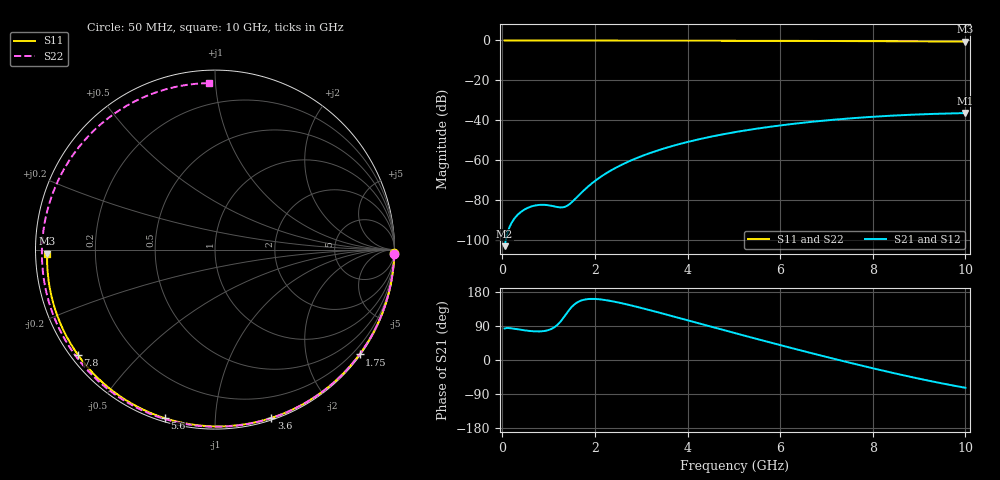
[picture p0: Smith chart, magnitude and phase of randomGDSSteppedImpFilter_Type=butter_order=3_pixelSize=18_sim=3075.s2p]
! freq	dB(S11)	phase(S11)	dB(S12)	phase(S12)
!  dB(S21)	phase(S21)	dB(S22)	phase(S22)
!S-par simulation data
#  GHz  S  DB  R 50
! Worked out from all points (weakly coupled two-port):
!   200 points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, 50 MHz to 10 GHz, reference 50 ohm
!   highest |S21| = -36.35 dB at 10 GHz (marker M1); lowest = -103.0 dB at 50 MHz (marker M2)
!   lowest |S11| = -0.6 dB at 10 GHz (marker M3), VSWR 29.98, Z = 1.67 - j0.601 ohm
!   |S11| at or under -10 dB: nowhere
!   |S22| runs from -0.7 to 0.0 dB; largest |S21 - S12| = 0
!   S11 on the Smith chart (normalised r, x): 50 MHz: open; 1.75 GHz: 0.03, -3.08; 3.6 GHz: 0.02, -1.39; 5.6 GHz: 0.02, -0.75; 7.8 GHz: 0.02, -0.34; 10 GHz: 0.03, -0.01
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0.05  -0.00 -1.0  -102.96 83.1  -102.96 83.1  -0.01 -1.5
0.4  -0.01 -8.3  -85.86 79.8  -85.86 79.8  -0.02 -12.5
0.75  -0.02 -15.6  -82.43 75.4  -82.43 75.4  -0.03 -23.3
1.15  -0.03 -23.8  -83.18 88.6  -83.18 88.6  -0.04 -35.6
1.55  -0.04 -31.9  -79.87 146.0  -79.87 146.0  -0.06 -47.5
1.75  -0.05 -35.9  -75.27 158.6  -75.27 158.6  -0.07 -53.4
2.05  -0.05 -41.9  -69.48 160.7  -69.48 160.7  -0.08 -62.1
2.45  -0.06 -49.8  -63.73 153.2  -63.73 153.2  -0.09 -73.4
2.9  -0.08 -58.4  -58.88 140.5  -58.88 140.5  -0.11 -85.7
3.4  -0.09 -67.8  -54.72 124.6  -54.72 124.6  -0.12 -98.9
3.6  -0.10 -71.5  -53.31 118.1  -53.31 118.1  -0.13 -104.1
4.3  -0.12 -84.2  -49.18 94.9  -49.18 94.9  -0.16 -121.7
5.05  -0.15 -97.3  -45.79 70.1  -45.79 70.1  -0.20 -139.9
5.6  -0.18 -106.6  -43.78 52.2  -43.78 52.2  -0.23 -153.0
6.15  -0.21 -115.7  -42.10 34.6  -42.10 34.6  -0.27 -166.1
6.7  -0.24 -124.7  -40.68 17.3  -40.68 17.3  -0.31 -179.3
7.25  -0.28 -133.6  -39.49 0.4  -39.49 0.4  -0.36 167.3
7.8  -0.33 -142.4  -38.51 -16.0  -38.51 -16.0  -0.41 153.5
8.35  -0.38 -151.3  -37.72 -31.8  -37.72 -31.8  -0.47 139.1
9.25  -0.48 -166.0  -36.81 -55.7  -36.81 -55.7  -0.56 114.2
9.65  -0.53 -172.7  -36.53 -65.4  -36.53 -65.4  -0.61 102.5
10  -0.58 -178.6  -36.35 -73.3  -36.35 -73.3  -0.65 92.0
